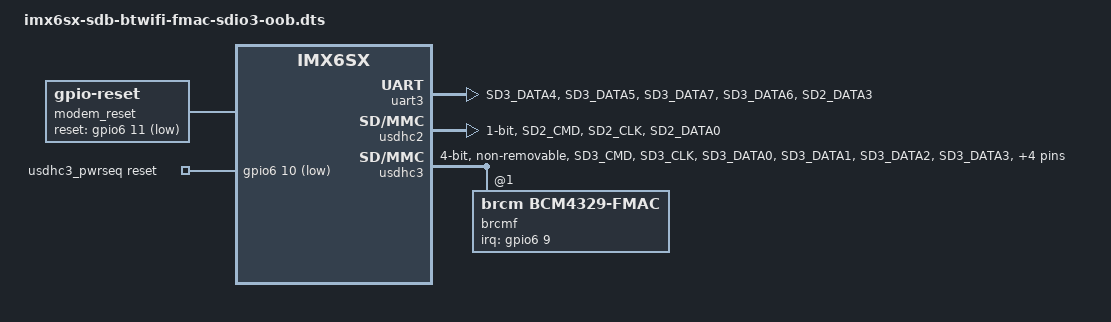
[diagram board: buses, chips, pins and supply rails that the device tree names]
/*
 * Copyright (C) 2015 Freescale Semiconductor, Inc.
 *
 * This program is free software; you can redistribute it and/or modify
 * it under the terms of the GNU General Public License version 2 as
 * published by the Free Software Foundation.
 */

/*
 * NOTE: This DTS file is written for plugging in Murata Wi-Fi/BT EVK into SD3
 * slot using Murata i.MX InterConnect Ver 1.0 Adapter AND SD Card Extender on
 * SD2 slot. Bluetooth UART connects via SD3 EMMC/MMC Plus pinout.
 * WL_REG_ON/BT_REG_ON/WL_HOST_WAKE connect via SD Card Extender.
 */

#include "imx6sx-sdb.dts"

/ {
	modem_reset: modem-reset {
		compatible = "gpio-reset";
		reset-gpios = <&gpio6 11 GPIO_ACTIVE_LOW>;
		reset-delay-us = <1000>;
		#reset-cells = <0>;
	};

	usdhc3_pwrseq: usdhc3_pwrseq {
		compatible = "mmc-pwrseq-simple";
		reset-gpios = <&gpio6 10 GPIO_ACTIVE_LOW>;
	};
};

&iomuxc {
	imx6sx-sdb-murata-v1_sdext {
		pinctrl_bt: btgrp {
			fsl,pins = <
				MX6SX_PAD_SD2_DATA3__GPIO6_IO_11	0x13069 /* BT_REG_ON */
			>;
		};

		/* Murata: Modify UART for 1.8V signaling to match WLAN SDIO VIO. */
		pinctrl_uart3: uart3grp {
			fsl,pins = <
				MX6SX_PAD_SD3_DATA4__UART3_RX		0x4001b0b1
				MX6SX_PAD_SD3_DATA5__UART3_TX		0x4001b0b1
				MX6SX_PAD_SD3_DATA7__UART3_CTS_B	0x4001b0b1
				MX6SX_PAD_SD3_DATA6__UART3_RTS_B	0x4001b0b1
			>;
		};

		/* change MUXing on SD2 slot for control signals. */
		pinctrl_usdhc2_1: usdhc2grp-1 {
			fsl,pins = <
				MX6SX_PAD_SD2_CMD__USDHC2_CMD		0x17059
				MX6SX_PAD_SD2_CLK__USDHC2_CLK		0x10059
				MX6SX_PAD_SD2_DATA0__USDHC2_DATA0	0x17059
			>;
		};

		/* Murata change SD3 to 4-bit SDIO only; use upper 4-bits for UART. */
		/* Add entries for 100 and 200 MHz signaling for UHS SDIO operation. */
		pinctrl_wifi: wifigrp {
			fsl,pins = <
				MX6SX_PAD_SD3_CMD__USDHC3_CMD		0x17069
				MX6SX_PAD_SD3_CLK__USDHC3_CLK		0x10071
				MX6SX_PAD_SD3_DATA0__USDHC3_DATA0	0x17069
				MX6SX_PAD_SD3_DATA1__USDHC3_DATA1	0x17069
				MX6SX_PAD_SD3_DATA2__USDHC3_DATA2	0x17069
				MX6SX_PAD_SD3_DATA3__USDHC3_DATA3	0x17069
				MX6SX_PAD_KEY_COL0__GPIO2_IO_10		0x17059 /* CD */
				MX6SX_PAD_KEY_ROW0__GPIO2_IO_15		0x17059 /* WP */
				/* Murata Module control signals */
				MX6SX_PAD_SD2_DATA1__GPIO6_IO_9         0x13069 /* WL_HOST_WAKE */
				MX6SX_PAD_SD2_DATA2__GPIO6_IO_10	0x13069 /* WL_REG_ON */
			>;
		};
		pinctrl_wifi_100mhz: wifigrp-100mhz {
			fsl,pins = <
				MX6SX_PAD_SD3_CMD__USDHC3_CMD		0x170b9
				MX6SX_PAD_SD3_CLK__USDHC3_CLK		0x100b9
				MX6SX_PAD_SD3_DATA0__USDHC3_DATA0	0x170b9
				MX6SX_PAD_SD3_DATA1__USDHC3_DATA1	0x170b9
				MX6SX_PAD_SD3_DATA2__USDHC3_DATA2	0x170b9
				MX6SX_PAD_SD3_DATA3__USDHC3_DATA3	0x170b9
				MX6SX_PAD_KEY_COL0__GPIO2_IO_10		0x17059 /* CD */
				MX6SX_PAD_KEY_ROW0__GPIO2_IO_15		0x17059 /* WP */
				/* Murata Module control signals */
				MX6SX_PAD_SD2_DATA1__GPIO6_IO_9         0x13069 /* WL_HOST_WAKE */
				MX6SX_PAD_SD2_DATA2__GPIO6_IO_10	0x13069 /* WL_REG_ON */
			>;
		};
		pinctrl_wifi_200mhz: wifigrp-200mhz {
			fsl,pins = <
				MX6SX_PAD_SD3_CMD__USDHC3_CMD		0x170f9
				MX6SX_PAD_SD3_CLK__USDHC3_CLK		0x100f9
				MX6SX_PAD_SD3_DATA0__USDHC3_DATA0	0x170f9
				MX6SX_PAD_SD3_DATA1__USDHC3_DATA1	0x170f9
				MX6SX_PAD_SD3_DATA2__USDHC3_DATA2	0x170f9
				MX6SX_PAD_SD3_DATA3__USDHC3_DATA3	0x170f9
				MX6SX_PAD_KEY_COL0__GPIO2_IO_10		0x17059 /* CD */
				MX6SX_PAD_KEY_ROW0__GPIO2_IO_15		0x17059 /* WP */
				/* Murata Module control signals */
				MX6SX_PAD_SD2_DATA1__GPIO6_IO_9         0x13069 /* WL_HOST_WAKE */
				MX6SX_PAD_SD2_DATA2__GPIO6_IO_10	0x13069 /* WL_REG_ON */
			>;
		};
	};
};

&uart3 {
	pinctrl-names = "default";
	pinctrl-0 = <&pinctrl_uart3
		     &pinctrl_bt>;
	fsl,uart-has-rtscts;
	resets = <&modem_reset>;
	status = "okay";
};

&usdhc2 {
	pinctrl-names = "default";
	pinctrl-0 = <&pinctrl_usdhc2_1>;
	bus-width = <1>;
};

&vcc_sd3 {
	regulator-always-on;
};

&usdhc3 {
	#address-cells = <1>;
	#size-cells = <0>;
	pinctrl-names = "default", "state_100mhz", "state_200mhz";
	pinctrl-0 = <&pinctrl_wifi>;
	pinctrl-1 = <&pinctrl_wifi_100mhz>;
	pinctrl-2 = <&pinctrl_wifi_200mhz>;
	bus-width = <4>;
	non-removable;
	mmc-pwrseq = <&usdhc3_pwrseq>;
	pm-ignore-notify;
	cap-power-off-card;
	status = "okay";

	brcmf: bcrmf@1 {
		reg = <1>;
		compatible = "brcm,bcm4329-fmac";
		interrupt-parent = <&gpio6>;
		interrupts = <9 IRQ_TYPE_LEVEL_HIGH>;
		interrupt-names = "host-wake";
	};
};
